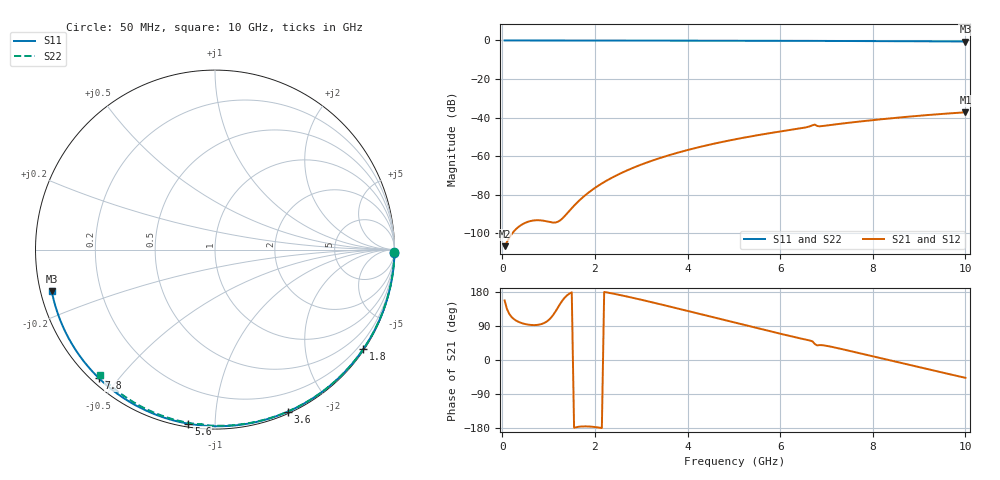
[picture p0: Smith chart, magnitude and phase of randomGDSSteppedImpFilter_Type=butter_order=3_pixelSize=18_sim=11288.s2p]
! freq	dB(S11)	phase(S11)	dB(S12)	phase(S12)
!  dB(S21)	phase(S21)	dB(S22)	phase(S22)
!S-par simulation data
#  GHz  S  DB  R 50
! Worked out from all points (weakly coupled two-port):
!   200 points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, 50 MHz to 10 GHz, reference 50 ohm
!   highest |S21| = -37.28 dB at 10 GHz (marker M1); lowest = -106.7 dB at 50 MHz (marker M2)
!   lowest |S11| = -0.5 dB at 10 GHz (marker M3), VSWR 31.67, Z = 1.6 - j6.31 ohm
!   |S11| at or under -10 dB: nowhere
!   |S22| runs from -0.4 to 0.0 dB; largest |S21 - S12| = 0
!   S11 on the Smith chart (normalised r, x): 50 MHz: open; 1.8 GHz: 0.03, -3.28; 3.6 GHz: 0.02, -1.54; 5.6 GHz: 0.02, -0.86; 7.8 GHz: 0.02, -0.44; 10 GHz: 0.03, -0.13
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0.05  -0.00 -1.0  -106.69 157.2  -106.69 157.2  -0.00 -0.8
0.85  -0.02 -16.2  -93.35 95.0  -93.35 95.0  -0.01 -12.9
1.3  -0.03 -24.6  -92.25 157.3  -92.25 157.3  -0.02 -19.7
1.75  -0.04 -33.0  -81.10 -175.2  -81.10 -175.2  -0.03 -26.4
1.8  -0.04 -33.9  -80.09 -175.2  -80.09 -175.2  -0.03 -27.1
2.15  -0.05 -40.3  -74.15 -179.5  -74.15 -179.5  -0.04 -32.3
2.5  -0.06 -46.6  -69.56 172.6  -69.56 172.6  -0.05 -37.4
2.9  -0.07 -53.7  -65.32 161.8  -65.32 161.8  -0.06 -43.1
3.4  -0.08 -62.5  -61.02 147.4  -61.02 147.4  -0.07 -50.2
3.6  -0.09 -65.9  -59.52 141.5  -59.52 141.5  -0.07 -53.1
4.25  -0.11 -76.9  -55.32 122.0  -55.32 122.0  -0.09 -62.0
5.05  -0.14 -89.9  -51.16 97.9  -51.16 97.9  -0.11 -72.7
5.6  -0.16 -98.7  -48.78 81.3  -48.78 81.3  -0.13 -79.9
6.55  -0.22 -113.4  -45.11 54.0  -45.11 54.0  -0.17 -91.9
6.7  -0.23 -115.6  -43.98 48.9  -43.98 48.9  -0.20 -93.9
6.75  -0.23 -116.4  -43.65 42.0  -43.65 42.0  -0.23 -94.4
6.8  -0.23 -117.2  -44.36 38.6  -44.36 38.6  -0.21 -94.8
6.85  -0.24 -117.9  -44.53 39.3  -44.53 39.3  -0.20 -95.5
7.8  -0.31 -132.2  -41.83 15.5  -41.83 15.5  -0.25 -107.0
8.35  -0.36 -140.4  -40.47 -0.3  -40.47 -0.3  -0.29 -113.5
9.2  -0.45 -153.3  -38.65 -24.5  -38.65 -24.5  -0.36 -123.4
10  -0.55 -165.6  -37.28 -47.0  -37.28 -47.0  -0.45 -132.5
